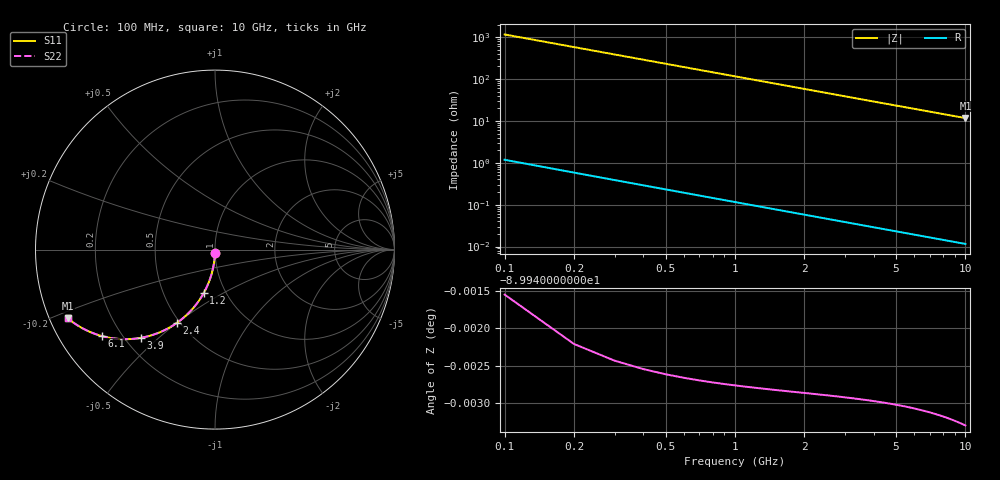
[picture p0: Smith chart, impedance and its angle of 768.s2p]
# Hz S RI R 50.00
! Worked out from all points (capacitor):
!   100 points, 100 MHz to 10 GHz, reference 50 ohm
!   read as one part in shunt: C = 1.38 pF near 100 MHz
!   lowest |Z| = 11.7 ohm at 10 GHz (marker M1)
!   S11 on the Smith chart (normalised r, x): 100 MHz: 1.00, -0.04; 1.2 GHz: 0.79, -0.41; 2.4 GHz: 0.48, -0.50; 3.9 GHz: 0.26, -0.44; 6.1 GHz: 0.13, -0.33; 10 GHz: 0.05, -0.22
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1e8  -0.000485 -0.0216  0.9995 -0.0216  0.9995 -0.0216  -0.000485 -0.0216
2e8  -0.00191 -0.0431  0.9981 -0.0432  0.9981 -0.0432  -0.00191 -0.0431
3e8  -0.00425 -0.0645  0.9957 -0.0646  0.9957 -0.0646  -0.00425 -0.0645
4e8  -0.0075 -0.0858  0.9925 -0.0859  0.9925 -0.0859  -0.0075 -0.0858
5e8  -0.0116 -0.1068  0.9883 -0.1069  0.9883 -0.1069  -0.0116 -0.1068
6e8  -0.0167 -0.1275  0.9833 -0.1276  0.9833 -0.1276  -0.0167 -0.1275
7e8  -0.0225 -0.1478  0.9775 -0.1479  0.9775 -0.1479  -0.0225 -0.1478
9e8  -0.0366 -0.1873  0.9634 -0.1874  0.9634 -0.1874  -0.0366 -0.1873
1.2e9  -0.0632 -0.2427  0.9368 -0.243  0.9368 -0.243  -0.0632 -0.2427
1.5e9  -0.0953 -0.2929  0.9047 -0.2932  0.9047 -0.2932  -0.0953 -0.2929
1.8e9  -0.1315 -0.3373  0.8685 -0.3377  0.8685 -0.3377  -0.1315 -0.3373
2.1e9  -0.1708 -0.3756  0.8292 -0.376  0.8292 -0.376  -0.1708 -0.3756
2.4e9  -0.2118 -0.4079  0.7882 -0.4083  0.7882 -0.4083  -0.2118 -0.4079
2.9e9  -0.2815 -0.449  0.7185 -0.4495  0.7185 -0.4495  -0.2815 -0.449
3.4e9  -0.3497 -0.4761  0.6502 -0.4767  0.6502 -0.4767  -0.3497 -0.4761
3.9e9  -0.4141 -0.4917  0.5859 -0.4924  0.5859 -0.4924  -0.4141 -0.4917
5.1e9  -0.5465 -0.4968  0.4535 -0.4978  0.4535 -0.4978  -0.5465 -0.4968
6.1e9  -0.6324 -0.4811  0.3676 -0.4823  0.3676 -0.4823  -0.6324 -0.4811
6.7e9  -0.6745 -0.4674  0.3255 -0.4687  0.3255 -0.4687  -0.6745 -0.4674
7.5e9  -0.7217 -0.4469  0.2783 -0.4484  0.2783 -0.4484  -0.7217 -0.4469
8.4e9  -0.7645 -0.423  0.2354 -0.4246  0.2354 -0.4246  -0.7645 -0.423
1e10  -0.8211 -0.3818  0.1789 -0.3837  0.1789 -0.3837  -0.8211 -0.3818
